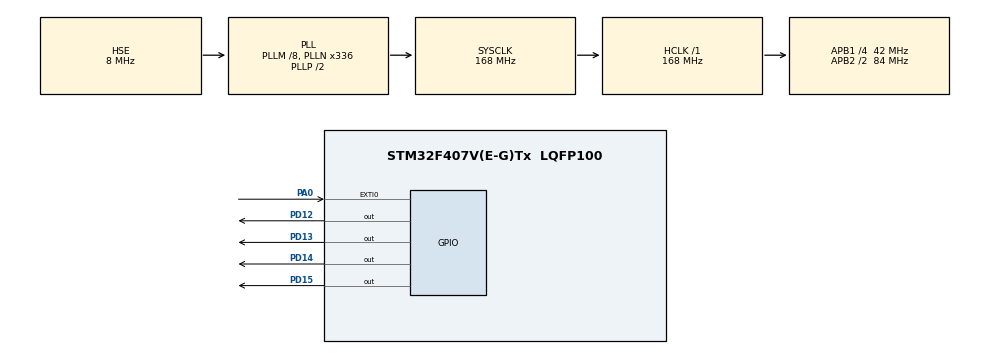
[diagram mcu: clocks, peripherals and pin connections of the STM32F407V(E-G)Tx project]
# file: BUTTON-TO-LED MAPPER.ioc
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Mcu.Family=STM32F4
Mcu.Name=STM32F407V(E-G)Tx
Mcu.Package=LQFP100
NVIC.EXTI0_IRQn=true\:0\:0\:false\:false\:true\:true\:true\:true
NVIC.PriorityGroup=NVIC_PRIORITYGROUP_0
NVIC.TIM5_IRQn=true\:0\:0\:false\:false\:true\:false\:true\:true
NVIC.TimeBase=TIM5_IRQn
NVIC.TimeBaseIP=TIM5
PA0-WKUP.Signal=GPXTI0
PA13.Mode=Serial_Wire
PA13.Signal=SYS_JTMS-SWDIO
PA14.Mode=Serial_Wire
PA14.Signal=SYS_JTCK-SWCLK
PD12.Signal=GPIO_Output
PD13.Signal=GPIO_Output
PD14.Signal=GPIO_Output
PD15.Signal=GPIO_Output
PH0-OSC_IN.Mode=HSE-External-Oscillator
PH0-OSC_IN.Signal=RCC_OSC_IN
PH1-OSC_OUT.Mode=HSE-External-Oscillator
PH1-OSC_OUT.Signal=RCC_OSC_OUT
ProjectManager.HeapSize=0x200
ProjectManager.StackSize=0x400
ProjectManager.TargetToolchain=STM32CubeIDE
RCC.48MHZClocksFreq_Value=48000000
RCC.AHBFreq_Value=168000000
RCC.APB1CLKDivider=RCC_HCLK_DIV4
RCC.APB1Freq_Value=42000000
RCC.APB1TimFreq_Value=84000000
RCC.APB2CLKDivider=RCC_HCLK_DIV2
RCC.APB2Freq_Value=84000000
RCC.APB2TimFreq_Value=168000000
RCC.CortexFreq_Value=168000000
RCC.HCLKFreq_Value=168000000
RCC.HSE_VALUE=8000000
RCC.HSI_VALUE=16000000
RCC.LSE_VALUE=32768
RCC.PLLM=8
RCC.PLLN=336
RCC.PLLQ=7
RCC.PLLSourceVirtual=RCC_PLLSOURCE_HSE
RCC.SYSCLKFreq_VALUE=168000000
RCC.SYSCLKSource=RCC_SYSCLKSOURCE_PLLCLK
RCC.VCOOutputFreq_Value=336000000
VP_SYS_VS_tim5.Mode=TIM5
board=STM32F407G-DISC1

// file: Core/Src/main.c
/* USER CODE BEGIN Header */
/**
  ******************************************************************************
  * @file           : main.c
  * @brief          : Main program body
  ******************************************************************************
  * @attention
  *
  * Copyright (c) 2025 STMicroelectronics.
  * All rights reserved.
  *
  * This software is licensed under terms that can be found in the LICENSE file
  * in the root directory of this software component.
  * If no LICENSE file comes with this software, it is provided AS-IS.
  *
  ******************************************************************************
  */
/* USER CODE END Header */
#include "main.h"

void SystemClock_Config(void);
static void MX_GPIO_Init(void);

/* USER CODE BEGIN 0 */
#define NUM_BUTTON 1

typedef void 	(*ButtonAction ) (void);

typedef struct {
	GPIO_TypeDef* GPIO_Port;
	uint16_t GPIO_Pin;
	ButtonAction Action ;

}ButtonMap;

void toggleGreen(void)
{
	HAL_GPIO_TogglePin(GPIOD, GPIO_PIN_12);
}

ButtonMap buttonMappings[NUM_BUTTON] = { {GPIOA, GPIO_PIN_0, toggleGreen} };
/* USER CODE END 0 */

int main(void)
{

  /* MCU Configuration--------------------------------------------------------*/

  /* Reset of all peripherals, Initializes the Flash interface and the Systick. */
  HAL_Init();

  /* Configure the system clock */
  SystemClock_Config();

  /* Initialize all configured peripherals */
  MX_GPIO_Init();

  /* Infinite loop */
  while (1)
  {

  }
}

void SystemClock_Config(void)
{
  RCC_OscInitTypeDef RCC_OscInitStruct = {0};
  RCC_ClkInitTypeDef RCC_ClkInitStruct = {0};

  /** Configure the main internal regulator output voltage
  */
  __HAL_RCC_PWR_CLK_ENABLE();
  __HAL_PWR_VOLTAGESCALING_CONFIG(PWR_REGULATOR_VOLTAGE_SCALE1);

  /** Initializes the RCC Oscillators according to the specified parameters
  * in the RCC_OscInitTypeDef structure.
  */
  RCC_OscInitStruct.OscillatorType = RCC_OSCILLATORTYPE_HSE;
  RCC_OscInitStruct.HSEState = RCC_HSE_ON;
  RCC_OscInitStruct.PLL.PLLState = RCC_PLL_ON;
  RCC_OscInitStruct.PLL.PLLSource = RCC_PLLSOURCE_HSE;
  RCC_OscInitStruct.PLL.PLLM = 8;
  RCC_OscInitStruct.PLL.PLLN = 336;
  RCC_OscInitStruct.PLL.PLLP = RCC_PLLP_DIV2;
  RCC_OscInitStruct.PLL.PLLQ = 7;
  if (HAL_RCC_OscConfig(&RCC_OscInitStruct) != HAL_OK)
  {
    Error_Handler();
  }

  /** Initializes the CPU, AHB and APB buses clocks
  */
  RCC_ClkInitStruct.ClockType = RCC_CLOCKTYPE_HCLK|RCC_CLOCKTYPE_SYSCLK
                              |RCC_CLOCKTYPE_PCLK1|RCC_CLOCKTYPE_PCLK2;
  RCC_ClkInitStruct.SYSCLKSource = RCC_SYSCLKSOURCE_PLLCLK;
  RCC_ClkInitStruct.AHBCLKDivider = RCC_SYSCLK_DIV1;
  RCC_ClkInitStruct.APB1CLKDivider = RCC_HCLK_DIV4;
  RCC_ClkInitStruct.APB2CLKDivider = RCC_HCLK_DIV2;

  if (HAL_RCC_ClockConfig(&RCC_ClkInitStruct, FLASH_LATENCY_5) != HAL_OK)
  {
    Error_Handler();
  }
}

static void MX_GPIO_Init(void)
{
  GPIO_InitTypeDef GPIO_InitStruct = {0};

  /* GPIO Ports Clock Enable */
  __HAL_RCC_GPIOH_CLK_ENABLE();
  __HAL_RCC_GPIOA_CLK_ENABLE();
  __HAL_RCC_GPIOD_CLK_ENABLE();

  /*Configure GPIO pin Output Level */
  HAL_GPIO_WritePin(GPIOD, GPIO_PIN_12|GPIO_PIN_13|GPIO_PIN_14|GPIO_PIN_15, GPIO_PIN_RESET);

  /*Configure GPIO pin : PA0 */
  GPIO_InitStruct.Pin = GPIO_PIN_0;
  GPIO_InitStruct.Mode = GPIO_MODE_IT_RISING;
  GPIO_InitStruct.Pull = GPIO_NOPULL;
  HAL_GPIO_Init(GPIOA, &GPIO_InitStruct);

  /*Configure GPIO pins : PD12 PD13 PD14 PD15 */
  GPIO_InitStruct.Pin = GPIO_PIN_12|GPIO_PIN_13|GPIO_PIN_14|GPIO_PIN_15;
  GPIO_InitStruct.Mode = GPIO_MODE_OUTPUT_PP;
  GPIO_InitStruct.Pull = GPIO_NOPULL;
  GPIO_InitStruct.Speed = GPIO_SPEED_FREQ_LOW;
  HAL_GPIO_Init(GPIOD, &GPIO_InitStruct);

  /* EXTI interrupt init*/
  HAL_NVIC_SetPriority(EXTI0_IRQn, 0, 0);
  HAL_NVIC_EnableIRQ(EXTI0_IRQn);

}

/* USER CODE BEGIN 4 */
//void EXTI0_IRQHandler(void)
//{
//	HAL_GPIO_EXTI_IRQHandler(GPIO_PIN_0);
//}

void HAL_GPIO_EXTI_Callback (uint16_t GPIO_Pin)
{
	for(int i = 0; i < NUM_BUTTON; i++)
	    {
	        if(buttonMappings[i].GPIO_Pin == GPIO_Pin)
	        {
	            buttonMappings[i].Action();
	            break;
	        }
	    }

//	if(GPIO_Pin == GPIO_PIN_0)
//	  {
//	    HAL_GPIO_TogglePin(GPIOD, GPIO_PIN_12);
//	  }
}

/* USER CODE END 4 */

void HAL_TIM_PeriodElapsedCallback(TIM_HandleTypeDef *htim)
{
  if (htim->Instance == TIM5)
  {
    HAL_IncTick();
  }
}

void Error_Handler(void)
{
  __disable_irq();
  while (1)
  {
  }
}
